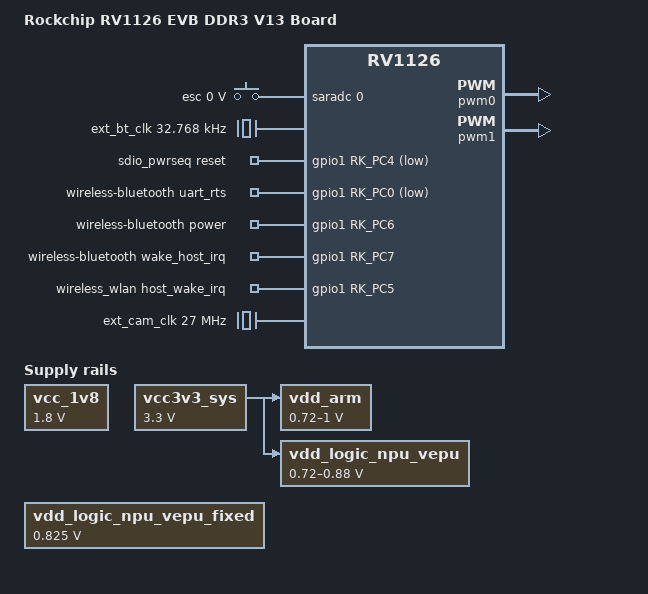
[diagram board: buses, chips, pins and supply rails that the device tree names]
// SPDX-License-Identifier: (GPL-2.0+ OR MIT)
/*
 * Copyright (c) 2020 Rockchip Electronics Co., Ltd.
 */
/dts-v1/;
#include "rv1126.dtsi"
#include "rv1126-evb-v13.dtsi"
/ {
	model = "Rockchip RV1126 EVB DDR3 V13 Board";
	compatible = "rockchip,rv1126-evb-ddr3-v13", "rockchip,rv1126";

	chosen {
		bootargs = "earlycon=uart8250,mmio32,0xff570000 console=ttyFIQ0 root=PARTUUID=614e0000-0000 rootfstype=ext4 rootwait snd_aloop.index=7";
	};
	
	vcc_1v8: vcc-1v8 {
		compatible = "regulator-fixed";
		regulator-name = "vcc_1v8";
		regulator-always-on;
		regulator-boot-on;
		regulator-min-microvolt = <1800000>;
		regulator-max-microvolt = <1800000>;
	};
	
	vcc3v3_sys: vcc33sys {
		compatible = "regulator-fixed";
		regulator-name = "vcc3v3_sys";
		regulator-always-on;
		regulator-boot-on;
		regulator-min-microvolt = <3300000>;
		regulator-max-microvolt = <3300000>;
	};

	vdd_arm: vdd-arm {
		compatible = "pwm-regulator";
		pwms = <&pwm0 0 5000 1>;
		regulator-name = "vdd_arm";
		regulator-min-microvolt = <720000>;
		regulator-max-microvolt = <1000000>;
		regulator-init-microvolt = <825000>;
		regulator-always-on;
		regulator-boot-on;
		regulator-settling-time-up-us = <250>;
		pwm-supply = <&vcc3v3_sys>;
		status = "okay";
	};

	/*
	 * pwm1 is reserved as voltage adjustment in hardware
	 * use fixed regulator to avoid voltage adjustment by software
	 */
	vdd_logic_npu_vepu: vdd-logic-npu-vepu {
		compatible = "pwm-regulator";
		pwms = <&pwm1 0 5000 1>;
		regulator-name = "vdd_logic_npu_vepu";
		regulator-min-microvolt = <720000>;
		regulator-max-microvolt = <880000>;
		regulator-init-microvolt = <825000>;
		regulator-always-on;
		regulator-boot-on;
		regulator-settling-time-up-us = <250>;
		pwm-supply = <&vcc3v3_sys>;
		status = "okay";
	};

	vdd_logic_npu_vepu_fixed: vdd-logic-npu-vepu-fixed {
		compatible = "regulator-fixed";
		regulator-name = "vdd_logic_npu_vepu-fixed";
		regulator-always-on;
		regulator-boot-on;
		regulator-min-microvolt = <825000>;
		regulator-max-microvolt = <825000>;
	};

	adc-keys {
		compatible = "adc-keys";
		io-channels = <&saradc 0>;
		io-channel-names = "buttons";
		poll-interval = <100>;
		keyup-threshold-microvolt = <1800000>;

		esc-key {
			label = "esc";
			linux,code = <KEY_ESC>;
			press-threshold-microvolt = <0>;
		};
	};
	
	ext_bt_clk: external-bluetooth-clock {
		compatible = "fixed-clock";
		clock-frequency = <32768>;
		clock-output-names = "CLK_BLUETOOLS_32KHZ";
		#clock-cells = <0>;
	};
	
	sdio_pwrseq: sdio-pwrseq {
		compatible = "mmc-pwrseq-simple";
		pinctrl-names = "default";
		pinctrl-0 = <&wifi_enable_h>;

		/*
		 * On the module itself this is one of these (depending
		 * on the actual card populated):
		 * - SDIO_RESET_L_WL_REG_ON
		 * - PDN (power down when low)
		 */
		reset-gpios = <&gpio1 RK_PC4 GPIO_ACTIVE_LOW>;//GPIO1_C4
	};
	
	wireless-bluetooth {
		compatible = "bluetooth-platdata";
		uart_rts_gpios = <&gpio1 RK_PC0 GPIO_ACTIVE_LOW>;
		pinctrl-names = "default", "rts_gpio";
		pinctrl-0 = <&uart0_rtsn>;
		pinctrl-1 = <&uart0_rtsn_gpio>;
		BT,power_gpio    = <&gpio1 RK_PC6 GPIO_ACTIVE_HIGH>;//GPIO1_C6
		BT,wake_host_irq = <&gpio1 RK_PC7 GPIO_ACTIVE_HIGH>;//GPIO1_C7
		status = "okay";
	};

	wireless_wlan: wireless-wlan {
		compatible = "wlan-platdata";
		rockchip,grf = <&grf>;
		clocks = <&ext_bt_clk>;
		clock-names = "clk_wifi";
		pinctrl-names = "default";
		pinctrl-0 = <&wifi_wake_host>;
		wifi_chip_type = "ap6256";
		/* WIFI,poweren_gpio = <&gpio0 RK_PA6 GPIO_ACTIVE_HIGH>; */
		WIFI,host_wake_irq = <&gpio1 RK_PC5 GPIO_ACTIVE_HIGH>;//GPIO1_C5
		status = "okay";
	};
	
	ext_cam_clk: external-camera-clock {
		status = "okay";
		compatible = "fixed-clock";
		clock-frequency = <27000000>;
		clock-output-names = "CLK_CAMERA_27MHZ";
		#clock-cells = <0>;
	};
};

&pmu_io_domains {
	status = "okay";

	pmuio0-supply = <&vcc3v3_sys>;
	pmuio1-supply = <&vcc3v3_sys>;
	vccio2-supply = <&vcc3v3_sys>;
	vccio3-supply = <&vcc_1v8>;//wifi
	vccio4-supply = <&vcc_1v8>;//spi
	vccio5-supply = <&vcc3v3_sys>;
	vccio6-supply = <&vcc3v3_sys>;
	vccio7-supply = <&vcc3v3_sys>;
};

&pwm0 {
	status = "okay";
};

&pwm1 {
	status = "okay";
};

&pinctrl {
	sdio-pwrseq {
		/omit-if-no-ref/
		wifi_enable_h: wifi-enable-h {
			rockchip,pins = <1 RK_PC4 RK_FUNC_GPIO &pcfg_pull_up>;
		};
	};

	wireless-wlan {
		/omit-if-no-ref/
		wifi_wake_host: wifi-wake-host {
			rockchip,pins = <1 RK_PC5 RK_FUNC_GPIO &pcfg_pull_up>;
		};
	};
};

&rkcif_mipi_lvds_sditf {
	status = "disabled";
};

&rkisp {
	status = "disabled";
};

&rkisp_vir0 {
	status = "disabled";
};

&rkisp_mmu {
	status = "disabled";
};

&rkispp {
	status = "disabled";
};

&rkispp_vir0 {
	status = "disabled";
};

&rkispp_mmu {
	status = "disabled";
};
